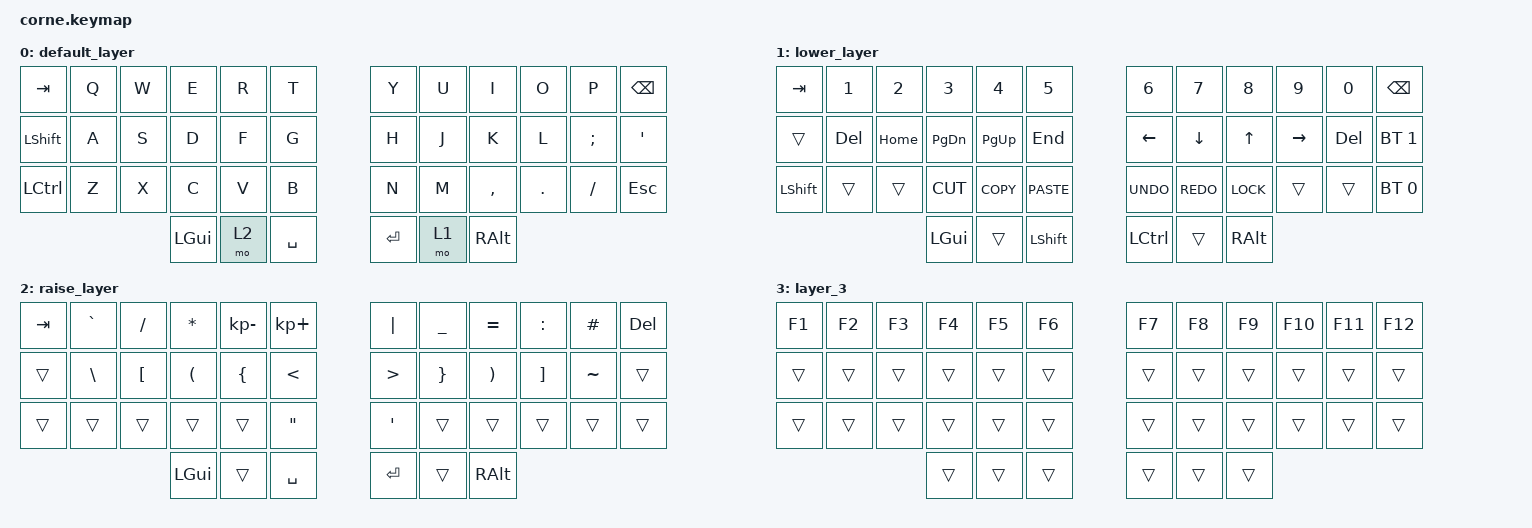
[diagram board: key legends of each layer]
/*
 * Copyright (c) 2020 The ZMK Contributors
 *
 * SPDX-License-Identifier: MIT
 */

#include <behaviors.dtsi>
#include <dt-bindings/zmk/bt.h>
#include <dt-bindings/zmk/keys.h>

/ {
    combos {
        compatible = "zmk,combos";

        funclayer {
            bindings = <&mo 3>;
            key-positions = <37 40>;
        };
    };

    keymap {
        compatible = "zmk,keymap";

        default_layer {
            // -----------------------------------------------------------------------------------------
            // |  TAB |  Q  |  W  |  E  |  R  |  T  |   |  Y  |  U   |  I  |  O  |  P  | BSPC |
            // | CTRL |  A  |  S  |  D  |  F  |  G  |   |  H  |  J   |  K  |  L  |  ;  |  '   |
            // | SHFT |  Z  |  X  |  C  |  V  |  B  |   |  N  |  M   |  ,  |  .  |  /  | ESC  |
            //                    | GUI | LWR | SPC |   | ENT | RSE  | ALT |

            bindings = <
&kp TAB           &kp Q  &kp W  &kp E     &kp R  &kp T        &kp Y    &kp U  &kp I      &kp O    &kp P     &kp BSPC
&kp LEFT_SHIFT    &kp A  &kp S  &kp D     &kp F  &kp G        &kp H    &kp J  &kp K      &kp L    &kp SEMI  &kp SQT
&kp LEFT_CONTROL  &kp Z  &kp X  &kp C     &kp V  &kp B        &kp N    &kp M  &kp COMMA  &kp DOT  &kp FSLH  &kp ESC
                                &kp LGUI  &mo 2  &kp SPACE    &kp RET  &mo 1  &kp RALT
            >;
        };

        lower_layer {
            // -----------------------------------------------------------------------------------------
            // |  TAB |  1  |  2  |  3  |  4  |  5  |   |  6  |  7  |  8  |  9  |  0  | BSPC |
            // | BTCLR| BT1 | BT2 | BT3 | BT4 | BT5 |   | LFT | DWN |  UP | RGT |     |      |
            // | SHFT |     |     |     |     |     |   |     |     |     |     |     |      |
            //                    | GUI |     | SPC |   | ENT |     | ALT |

            bindings = <
&kp TAB    &kp N1      &kp N2    &kp N3         &kp N4       &kp N5         &kp N6      &kp N7      &kp N8      &kp N9     &kp N0   &kp BSPC
&trans     &kp DELETE  &kp HOME  &kp PAGE_DOWN  &kp PAGE_UP  &kp END        &kp LEFT    &kp DOWN    &kp UP      &kp RIGHT  &kp DEL  &bt BT_SEL 1
&kp LSHFT  &trans      &trans    &kp K_CUT      &kp K_COPY   &kp K_PASTE    &kp K_UNDO  &kp K_REDO  &kp K_LOCK  &trans     &trans   &bt BT_SEL 0
                                 &kp LGUI       &trans       &kp LSHIFT     &kp LCTRL   &trans      &kp RALT
            >;
        };

        raise_layer {
            // -----------------------------------------------------------------------------------------
            // |  TAB |  !  |  @  |  #  |  $  |  %  |   |  ^  |  &  |  *  |  (  |  )  | BSPC |
            // | CTRL |     |     |     |     |     |   |  -  |  =  |  [  |  ]  |  \  |  `   |
            // | SHFT |     |     |     |     |     |   |  _  |  +  |  {  |  }  | "|" |  ~   |
            //                    | GUI |     | SPC |   | ENT |     | ALT |

            bindings = <
&kp TAB  &kp GRAVE      &kp SLASH         &kp ASTERISK          &kp KP_MINUS    &kp KP_PLUS          &kp PIPE          &kp UNDERSCORE   &kp EQUAL              &kp COLON          &kp POUND  &kp DELETE
&trans   &kp BACKSLASH  &kp LEFT_BRACKET  &kp LEFT_PARENTHESIS  &kp LEFT_BRACE  &kp LESS_THAN        &kp GREATER_THAN  &kp RIGHT_BRACE  &kp RIGHT_PARENTHESIS  &kp RIGHT_BRACKET  &kp TILDE  &trans
&trans   &trans         &trans            &trans                &trans          &kp DOUBLE_QUOTES    &kp SINGLE_QUOTE  &trans           &trans                 &trans             &trans     &trans
                                          &kp LGUI              &trans          &kp SPACE            &kp RET           &trans           &kp RALT
            >;
        };

        layer_3 {
            bindings = <
&kp F1  &kp F2  &kp F3  &kp F4  &kp F5  &kp F6    &kp F7  &kp F8  &kp F9  &kp F10  &kp F11  &kp F12
&trans  &trans  &trans  &trans  &trans  &trans    &trans  &trans  &trans  &trans   &trans   &trans
&trans  &trans  &trans  &trans  &trans  &trans    &trans  &trans  &trans  &trans   &trans   &trans
                        &trans  &trans  &trans    &trans  &trans  &trans
            >;
        };
    };
};
